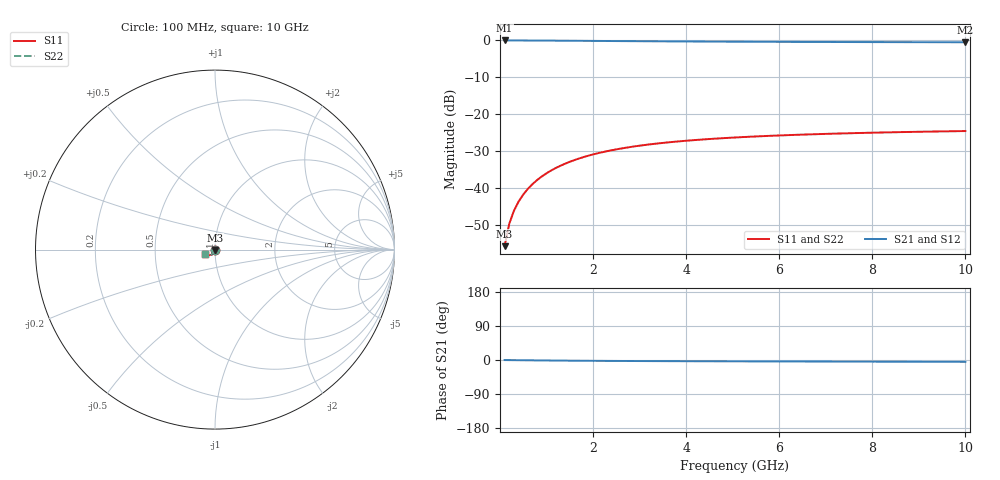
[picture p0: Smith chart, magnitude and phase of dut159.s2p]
! Touchstone file exported from HFSS 2024.1.0
!  File:  C:/UserFiles/LocalFiles/RDL_TSV_Batchsim/temp_TSV1_159_1778755537.aedt
!  Generated:  06:49:19 PM May 14, 2026
!  Design:  TSV1
!  Project:  temp_TSV1_159_1778755537
!  Setup:  Setup1
!  Solution:  Sweep
! Variables:
!  dtsv = 14.14um
!  hbump = 3um
!  htsv = 72.87um
!  lrdl = 252.1521522um
!  p = 40
!  p1 = 46.29um
!  t = 500um
!  trdl = 3um
!  wrdl = 24.89489489um
# GHz S MA R 50.000000
! Terminal data exported
! Port[1] = TSV22_T1
! Port[2] = TSV22_T2
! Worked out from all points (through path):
!   100 points, 100 MHz to 10 GHz, reference 50 ohm
!   highest |S21| = 0.00 dB at 100 MHz (marker M1); lowest = -0.5 dB at 10 GHz (marker M2)
!   lowest |S11| = -55.6 dB at 100 MHz (marker M3), VSWR 1.00, Z = 50 - j0.166 ohm
!   |S11| at or under -10 dB: start of sweep to end of sweep
!   |S22| runs from -55.6 to -24.5 dB; largest |S21 - S12| = 3.1e-15
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0.1  0.001657 -88.8  0.9999 -0.1  0.9999 -0.1  0.001657 -88.8
! Gamma 0 0 0 0
! Port Impedance 50 0 50 0
0.2  0.003328 -91.7  0.9997 -0.3  0.9997 -0.3  0.003328 -91.7
0.3  0.004988 -93.8  0.9995 -0.4  0.9995 -0.4  0.004988 -93.8
0.4  0.006634 -95.7  0.9991 -0.5  0.9991 -0.5  0.006634 -95.7
0.5  0.008261 -97.4  0.9987 -0.7  0.9987 -0.7  0.008261 -97.4
0.6  0.009867 -99.1  0.9982 -0.8  0.9982 -0.8  0.009867 -99.1
0.7  0.01145 -100.7  0.9976 -0.9  0.9976 -0.9  0.01145 -100.7
0.8  0.013 -102.3  0.997 -1.0  0.997 -1.0  0.013 -102.3
0.9  0.01452 -103.8  0.9963 -1.1  0.9963 -1.1  0.01452 -103.8
1.1  0.01747 -106.8  0.9947 -1.4  0.9947 -1.4  0.01747 -106.8
1.4  0.0216 -111.0  0.992 -1.7  0.992 -1.7  0.0216 -111.0
1.6  0.02415 -113.7  0.9901 -1.8  0.9901 -1.8  0.02415 -113.7
1.8  0.02655 -116.2  0.9881 -2.0  0.9881 -2.0  0.02655 -116.2
2.1  0.02984 -119.7  0.9851 -2.2  0.9851 -2.2  0.02984 -119.7
2.5  0.03371 -123.9  0.9812 -2.5  0.9812 -2.5  0.03371 -123.9
2.9  0.03704 -127.6  0.9775 -2.7  0.9775 -2.7  0.03704 -127.6
3.4  0.04058 -131.7  0.9733 -3.0  0.9733 -3.0  0.04058 -131.7
4.2  0.0451 -137.0  0.9673 -3.3  0.9673 -3.3  0.0451 -137.0
5.1  0.04897 -141.8  0.9618 -3.6  0.9618 -3.6  0.04897 -141.8
6.7  0.05386 -148.1  0.9545 -4.0  0.9545 -4.0  0.05386 -148.1
8.4  0.05733 -153.1  0.9491 -4.5  0.9491 -4.5  0.05733 -153.0
10  0.05962 -156.6  0.9455 -4.9  0.9455 -4.9  0.05962 -156.6
